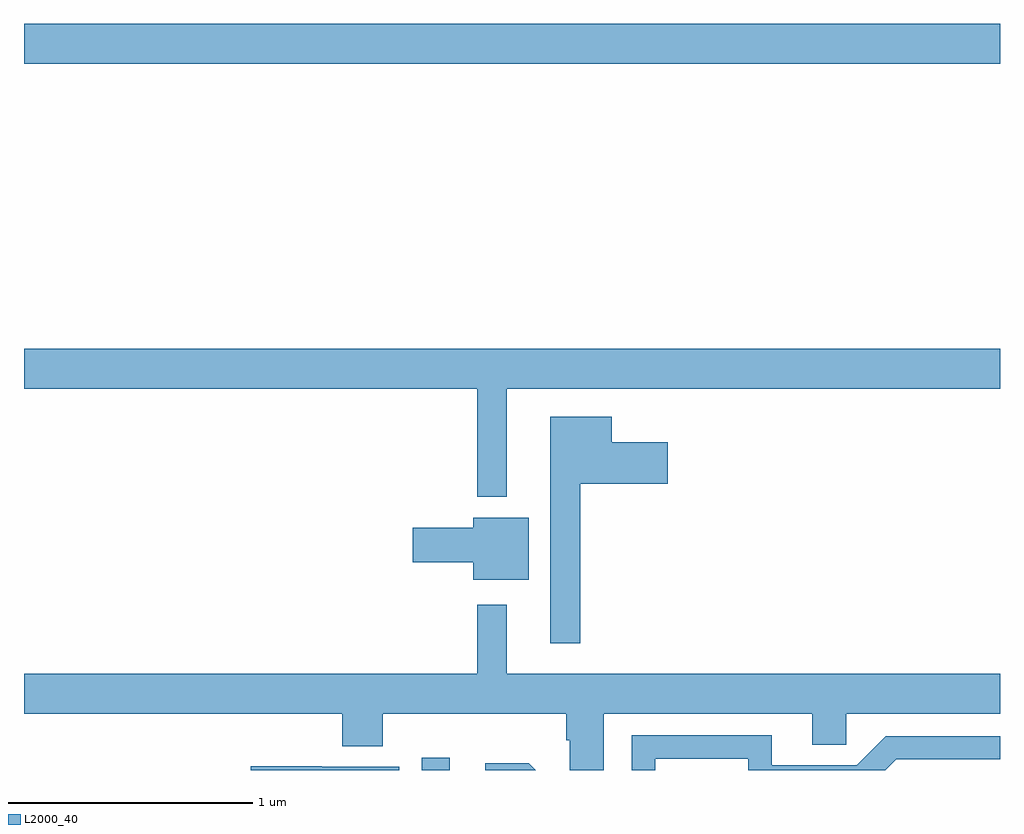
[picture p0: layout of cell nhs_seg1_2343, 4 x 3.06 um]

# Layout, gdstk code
import gdstk
lib = gdstk.Library(unit=1e-6, precision=1e-09)
def R(c, l, rs):  # rectangles x0, y0, x1, y1
    for r in rs: c.add(gdstk.rectangle(r[:2], r[2:], *l))
def P(c, l, *ps):  # polygons
    for p in ps: c.add(gdstk.Polygon(p, *l))
L2000_40 = (2000, 40)

nhs_seg1_2343 = lib.new_cell('nhs_seg1_2343')
R(nhs_seg1_2343, L2000_40, [(240.63,518.199,240.745,518.251), (239,521.096,243,521.26)])
P(nhs_seg1_2343, L2000_40, [(240.979,519.764),(243,519.764),(243,519.928),(239,519.928),(239,519.764),(240.858,519.764),(240.858,519.32),(240.979,519.32)],
  [(241.279,519.374),(241.639,519.374),(241.639,519.544),(241.408,519.544),(241.408,519.649),(241.157,519.649),(241.157,518.721),(241.279,518.721)],
  [(241.069,519.235),(240.842,519.235),(240.842,519.194),(240.594,519.194),(240.594,519.052),(240.842,519.052),(240.842,518.981),(241.069,518.981)],
  [(241.375,518.432),(242.231,518.432),(242.231,518.305),(242.37,518.305),(242.37,518.432),(243,518.432),(243,518.596),(240.979,518.596),(240.979,518.878),(240.858,518.878),(240.858,518.596),(239,518.596),(239,518.432),(240.305,518.432),(240.305,518.299),(240.47,518.299),(240.47,518.432),(241.223,518.432),(241.223,518.323),(241.236,518.323),(241.236,518.2),(241.375,518.2)],
  [(241.587,518.247),(241.968,518.247),(241.968,518.199),(242.529,518.199),(242.574,518.244),(243,518.244),(243,518.34),(242.532,518.34),(242.412,518.22),(242.065,518.22),(242.065,518.343),(241.491,518.343),(241.491,518.199),(241.587,518.199)],
  [(241.069,518.228),(240.891,518.228),(240.891,518.199),(241.098,518.199)],
  [(240.537,518.214),(240.221,518.214),(240.221,518.216),(239.929,518.216),(239.929,518.199),(240.537,518.199)])

lib.write_gds('nhs_seg1_2343.gds')
